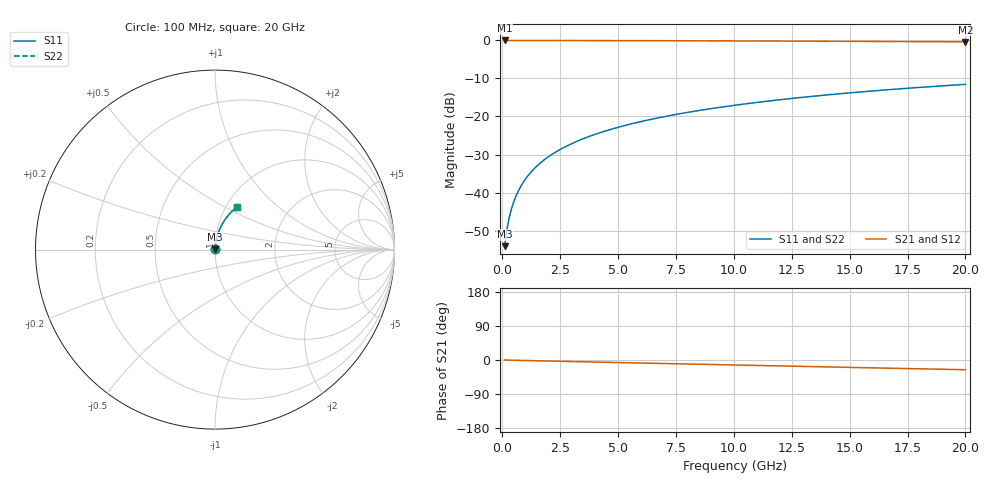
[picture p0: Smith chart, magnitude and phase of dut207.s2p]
! Touchstone file exported from HFSS 2026.1.0
!  File:  C:/ffzhzh/LocalFiles/Ansys_Project_Files/temp_train_TMRDL_207_1782984077_40604.aedt
!  Generated:  05:22:28 PM Jul  2, 2026
!  Design:  TMRDL
!  Project:  temp_train_TMRDL_207_1782984077_40604
! Variables:
!  h_bsmrdl = 2um
!  h_ox = 20um
!  h_rdl = 5um
!  h_sub = 80um
!  h_tmrdl = 5.94um
!  h_tsv = 80um
!  h_via = 3um
!  l_bsmrdl = 300um
!  l_sub = 739.44um
!  l_tmrdl = 339.44um
!  m_sub = 200um
!  pitch = 50.35um
!  r_tsv = 6um
!  s_tmrdl = 10um
!  w_bsmrdl = 18um
!  w_sub = 500um
!  w_tmrdl = 18.72um
!  x_tsv_center1 = 348.8um
!  x_tsv_center2 = 666.8um
!  x_tsv_center3 = 1024.96um
!  x_tsv_center4 = 1342.96um
!  x_tsv_center5 = 1701.12um
!  x_tsv_center6 = 2019.12um
# GHz S MA R 50.000000
! Terminal data exported
! Port[1] = TM_RDL1_1_T1
! Port[2] = TM_RDL1_1_T2
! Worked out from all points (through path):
!   200 points, 100 MHz to 20 GHz, reference 50 ohm
!   highest |S21| = -0.01 dB at 100 MHz (marker M1); lowest = -0.4 dB at 20 GHz (marker M2)
!   group delay of S21, straight-line fit = 3.56 ps
!   lowest |S11| = -54.1 dB at 100 MHz (marker M3), VSWR 1.00, Z = 50.1 + j0.157 ohm
!   |S11| at or under -10 dB: start of sweep to end of sweep
!   |S22| runs from -54.1 to -11.6 dB; largest |S21 - S12| = 1.1e-14
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0.1  0.001973 52.4  0.9988 -0.1  0.9988 -0.1  0.001973 52.4
! Gamma 0 0 0 0
! Port Impedance 50 0 50 0
0.2  0.003277 68.8  0.9987 -0.3  0.9987 -0.3  0.003275 68.8
0.3  0.004699 75.2  0.9987 -0.4  0.9987 -0.4  0.004697 75.2
0.4  0.006158 78.4  0.9986 -0.6  0.9986 -0.6  0.006156 78.4
0.5  0.007632 80.3  0.9986 -0.7  0.9986 -0.7  0.00763 80.3
0.7  0.0106 82.3  0.9985 -1.0  0.9985 -1.0  0.01059 82.3
0.8  0.01208 82.8  0.9984 -1.1  0.9984 -1.1  0.01208 82.8
1  0.01504 83.4  0.9983 -1.4  0.9983 -1.4  0.01504 83.4
1.2  0.018 83.7  0.9982 -1.6  0.9982 -1.6  0.01799 83.7
1.4  0.02094 83.8  0.9981 -1.9  0.9981 -1.9  0.02094 83.8
1.7  0.02533 83.8  0.9979 -2.3  0.9979 -2.3  0.02532 83.8
2  0.02968 83.7  0.9976 -2.7  0.9976 -2.7  0.02968 83.7
2.7  0.03974 83.1  0.9969 -3.7  0.9969 -3.7  0.03974 83.1
3.5  0.05108 82.3  0.9961 -4.7  0.9961 -4.7  0.05108 82.3
4.2  0.06092 81.6  0.9952 -5.6  0.9952 -5.6  0.06092 81.5
5  0.07207 80.7  0.9941 -6.7  0.9941 -6.7  0.07207 80.7
6.8  0.09689 78.6  0.9913 -9.0  0.9913 -9.0  0.09689 78.6
8.3  0.1173 76.9  0.9887 -11.0  0.9887 -11.0  0.1173 76.9
10.1  0.1413 74.7  0.9851 -13.3  0.9851 -13.3  0.1413 74.7
13.4  0.1843 70.8  0.9774 -17.5  0.9774 -17.5  0.1843 70.8
16.7  0.2254 66.8  0.9682 -21.6  0.9682 -21.6  0.2254 66.8
20  0.2645 62.9  0.9579 -25.7  0.9579 -25.7  0.2645 62.9
